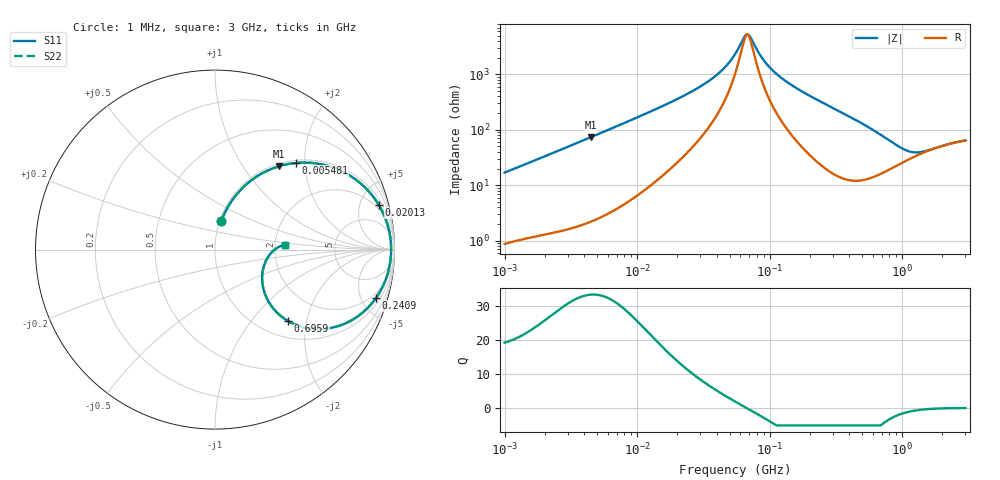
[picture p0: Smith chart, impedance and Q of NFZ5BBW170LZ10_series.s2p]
! NFZ5BBW170LZ10
# Hz S RI R 50
!Freq.(Hz) S11(Real) S11(Imag) S21(Real) S21(Imag) S12(Real) S12(Imag) S22(Real) S22(Imag)
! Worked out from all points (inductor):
!   401 points, 1 MHz to 3 GHz, reference 50 ohm
!   read as one part in series: L = 2.66 uH near 1.041 MHz
!   highest Q = 33.5 at 4.487 MHz (marker M1), where L = 2.61 uH
!   self-resonance near 67.85 MHz
!   S11 on the Smith chart (normalised r, x): 1 MHz: 1.02, +0.34; 5.481 MHz: 1.05, +1.80; 20.13 MHz: 1.52, +7.17; 240.9 MHz: 1.47, -6.48; 695.9 MHz: 1.32, -1.57; 3 GHz: 2.28, +0.14
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1000000  0.0356 0.1613  0.9644 -0.1613  0.9644 -0.1613  0.0356 0.1613
2097170  0.1161 0.302  0.8839 -0.302  0.8839 -0.302  0.1161 0.302
3823119  0.2888 0.4383  0.7112 -0.4383  0.7112 -0.4383  0.2888 0.4383
4487043  0.3564 0.4642  0.6436 -0.4642  0.6436 -0.4642  0.3564 0.4642
5481359  0.4502 0.4826  0.5498 -0.4826  0.5498 -0.4826  0.4502 0.4826
8345207  0.6519 0.4592  0.3481 -0.4592  0.3481 -0.4592  0.6519 0.4592
1.461624e7  0.8494 0.3324  0.1506 -0.3324  0.1506 -0.3324  0.8494 0.3324
2.013356e7  0.9129 0.2483  0.0871 -0.2483  0.0871 -0.2483  0.9129 0.2483
3.74453e7  0.9691 0.1082  0.0309 -0.1082  0.0309 -0.1082  0.9691 0.1082
5.477226e7  0.9799 0.0375  0.0201 -0.0375  0.0201 -0.0375  0.9799 0.0375
6.428402e7  0.9812 0.00943  0.0188 -0.00943  0.0188 -0.00943  0.9812 0.00943
6.964249e7  0.9813 -0.00453  0.0187 0.00453  0.0187 0.00453  0.9813 -0.00453
8.854986e7  0.979 -0.047  0.021 0.047  0.021 0.047  0.979 -0.047
1.060286e8  0.9746 -0.0802  0.0254 0.0802  0.0254 0.0802  0.9746 -0.0802
2.094008e8  0.9211 -0.2317  0.0789 0.2317  0.0789 0.2317  0.9211 -0.2317
2.408952e8  0.8973 -0.2694  0.1027 0.2694  0.1027 0.2694  0.8973 -0.2694
4.66327e8  0.6561 -0.4343  0.3439 0.4343  0.3439 0.4343  0.6561 -0.4343
6.958997e8  0.4083 -0.3989  0.5917 0.3989  0.5917 0.3989  0.4083 -0.3989
8.005644e8  0.336 -0.341  0.664 0.341  0.664 0.341  0.336 -0.341
1.294266e9  0.2699 -0.1007  0.7301 0.1007  0.7301 0.1007  0.2699 -0.1007
1.855641e9  0.3259 -0.00562  0.6741 0.00562  0.6741 0.00562  0.3259 -0.00562
3e9  0.391 0.0268  0.609 -0.0268  0.609 -0.0268  0.391 0.0268
